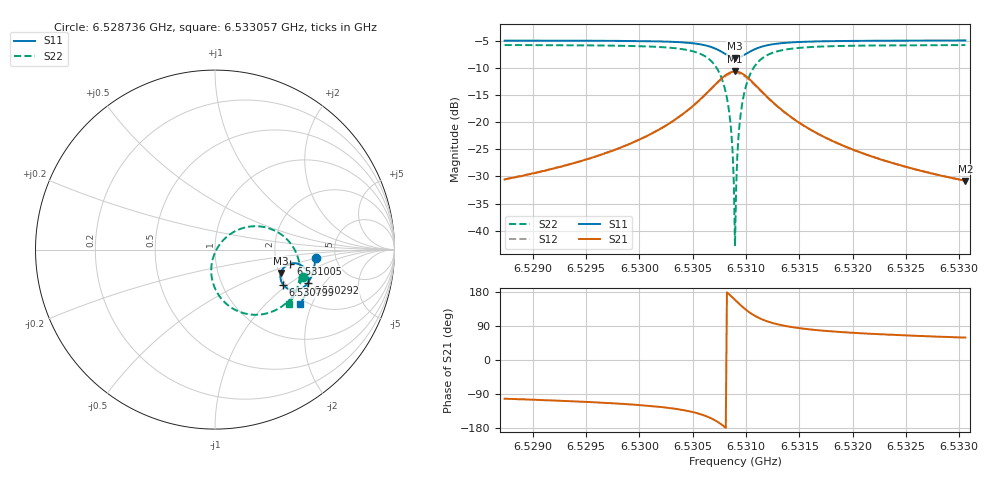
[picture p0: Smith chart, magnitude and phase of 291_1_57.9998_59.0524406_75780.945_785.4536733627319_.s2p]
#  HZ  S  RI  R  50.00
! Rohde & Schwarz Vector Network Analyzer
! Rohde-Schwarz,ZNB20-2Port,1311601062101988,3.16
! Created: UTC 3/21/2024, 1:03:17 AM
! freq[Hz]  re:S11  im:S11  re:S21  im:S21  re:S12  im:S12  re:S22  im:S22
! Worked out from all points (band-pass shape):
!   401 points, 6.528736 GHz to 6.533057 GHz, reference 50 ohm
!   highest |S21| = -10.68 dB at 6.530897 GHz (marker M1); lowest = -30.9 dB at 6.533057 GHz (marker M2)
!   |S21| within 3 dB of the highest: 6.530681 GHz to 6.531113 GHz (432.1 kHz wide, 0.00662 % of centre)
!   lowest |S11| = -8.2 dB at 6.530897 GHz (marker M3), VSWR 2.28, Z = 102 - j31.2 ohm
!   |S11| at or under -10 dB: nowhere
!   |S22| runs from -42.8 to -5.8 dB; largest |S21 - S12| = 0.011
!   S11 on the Smith chart (normalised r, x): 6.528736 GHz: 3.50, -0.46; 6.530292 GHz: 2.59, -1.39; 6.530799 GHz: 1.93, -0.93; 6.531005 GHz: 2.38, -0.46; 6.533057 GHz: 1.85, -1.65
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6.5287359e9  0.56 -0.0447  -0.00618 -0.029  -0.00687 -0.0289  0.4875 -0.1554
6.5294598e9  0.551 -0.1044  -0.0152 -0.0413  -0.0162 -0.041  0.4582 -0.2206
6.5301836e9  0.5244 -0.1752  -0.0471 -0.071  -0.049 -0.0699  0.3804 -0.3109
6.5302917e9  0.5154 -0.188  -0.0596 -0.0789  -0.0618 -0.0771  0.3542 -0.3284
6.5306374e9  0.4492 -0.2266  -0.1613 -0.095  -0.1634 -0.0884  0.163 -0.3551
6.5307346e9  0.4084 -0.2195  -0.2241 -0.0668  -0.223 -0.0576  0.0583 -0.2976
6.5307995e9  0.3796 -0.1961  -0.2658 -0.0164  -0.2608 -0.0072  -0.00404 -0.2066
6.5308427e9  0.3669 -0.1697  -0.2815 0.0338  -0.2733 0.0417  -0.0211 -0.1204
6.5308643e9  0.3646 -0.1541  -0.2821 0.0626  -0.273 0.0689  -0.0174 -0.0733
6.5308751e9  0.3647 -0.146  -0.2803 0.0772  -0.2707 0.0827  -0.0119 -0.0498
6.5308859e9  0.3656 -0.138  -0.2772 0.0916  -0.2672 0.0964  -0.0042 -0.0267
6.5308967e9  0.3675 -0.1301  -0.2725 0.1058  -0.2624 0.1096  0.00574 -0.00438
6.5309075e9  0.3702 -0.1222  -0.2664 0.1197  -0.2563 0.1223  0.0181 0.0169
6.5309183e9  0.3736 -0.1148  -0.2591 0.1324  -0.249 0.1344  0.0321 0.0368
6.5309291e9  0.3779 -0.1081  -0.2506 0.1447  -0.2408 0.1456  0.0481 0.055
6.5309507e9  0.3882 -0.0962  -0.2308 0.1655  -0.2216 0.1649  0.0841 0.0857
6.5310047e9  0.4197 -0.0784  -0.1733 0.1964  -0.1669 0.1939  0.1839 0.1267
6.5310804e9  0.4607 -0.0786  -0.1016 0.199  -0.0981 0.1962  0.3044 0.1175
6.5311884e9  0.4965 -0.1002  -0.0395 0.1699  -0.0378 0.1682  0.4044 0.0537
6.5316206e9  0.5215 -0.1786  0.0143 0.0822  0.0154 0.0819  0.4737 -0.1306
6.5323444e9  0.5022 -0.251  0.0169 0.0394  0.0175 0.0391  0.4453 -0.2446
6.5330575e9  0.475 -0.3037  0.0147 0.0246  0.0153 0.0245  0.4106 -0.3053
